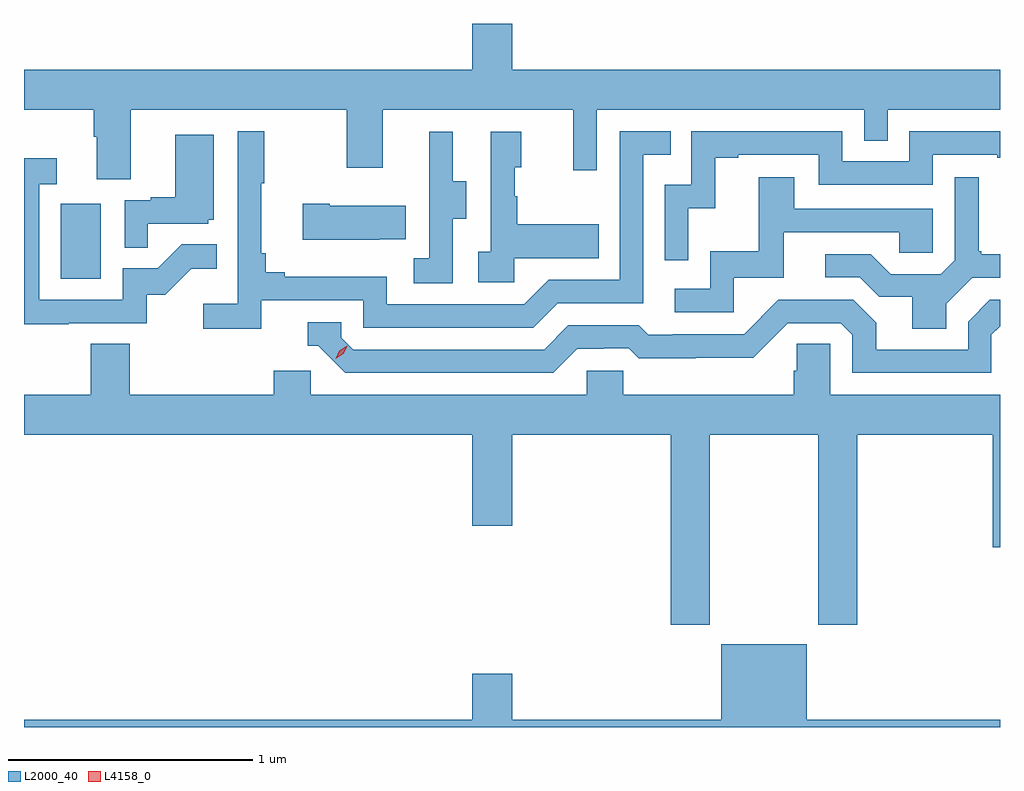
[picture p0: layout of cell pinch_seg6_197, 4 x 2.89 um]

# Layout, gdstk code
import gdstk
lib = gdstk.Library(unit=1e-6, precision=1e-09)
def R(c, l, rs):  # rectangles x0, y0, x1, y1
    for r in rs: c.add(gdstk.rectangle(r[:2], r[2:], *l))
def P(c, l, *ps):  # polygons
    for p in ps: c.add(gdstk.Polygon(p, *l))
L2000_40 = (2000, 40)
L4158_0 = (4158, 0)

pinch_seg6_197 = lib.new_cell('pinch_seg6_197')
R(pinch_seg6_197, L2000_40, [(1014.47,917.34,1014.634,917.647)])
P(pinch_seg6_197, L2000_40, [(1014.757,918.032),(1015.642,918.032),(1015.642,917.793),(1015.789,917.793),(1015.789,918.032),(1016.57,918.032),(1016.57,917.784),(1016.667,917.784),(1016.667,918.032),(1017.762,918.032),(1017.762,917.905),(1017.858,917.905),(1017.858,918.032),(1018.319,918.032),(1018.319,918.196),(1016.32,918.196),(1016.32,918.385),(1016.156,918.385),(1016.156,918.196),(1014.319,918.196),(1014.319,918.032),(1014.605,918.032),(1014.605,917.92),(1014.617,917.92),(1014.617,917.746),(1014.757,917.746)],
  [(1015.292,917.25),(1015.71,917.25),(1015.71,917.139),(1016.407,917.139),(1016.506,917.238),(1016.856,917.238),(1016.856,917.847),(1016.969,917.847),(1016.969,917.943),(1016.76,917.943),(1016.76,917.334),(1016.469,917.334),(1016.37,917.235),(1015.806,917.235),(1015.806,917.347),(1015.387,917.347),(1015.387,917.366),(1015.31,917.366),(1015.31,917.443),(1015.291,917.443),(1015.291,917.731),(1015.303,917.731),(1015.303,917.944),(1015.194,917.944),(1015.194,917.236),(1015.053,917.236),(1015.053,917.134),(1015.292,917.134)],
  [(1017.042,917.627),(1017.152,917.627),(1017.152,917.835),(1017.247,917.835),(1017.247,917.847),(1017.576,917.847),(1017.576,917.724),(1018.044,917.724),(1018.044,917.847),(1018.307,917.847),(1018.307,917.835),(1018.319,917.835),(1018.319,917.943),(1017.948,917.943),(1017.948,917.82),(1017.672,917.82),(1017.672,917.943),(1017.054,917.943),(1017.054,917.724),(1016.946,917.724),(1016.946,917.415),(1017.042,917.415)],
  [(1016.328,917.423),(1016.675,917.423),(1016.675,917.563),(1016.341,917.563),(1016.341,917.678),(1016.331,917.678),(1016.331,917.796),(1016.356,917.796),(1016.356,917.941),(1016.232,917.941),(1016.232,917.45),(1016.181,917.45),(1016.181,917.325),(1016.328,917.325)],
  [(1016.076,917.584),(1016.131,917.584),(1016.131,917.739),(1016.077,917.739),(1016.077,917.941),(1015.979,917.941),(1015.979,917.727),(1015.98,917.727),(1015.98,917.423),(1015.917,917.423),(1015.917,917.32),(1016.076,917.32)],
  [(1014.827,917.565),(1015.074,917.565),(1015.074,917.58),(1015.096,917.58),(1015.096,917.929),(1014.938,917.929),(1014.938,917.674),(1014.839,917.674),(1014.839,917.661),(1014.732,917.661),(1014.732,917.467),(1014.827,917.467)],
  [(1014.503,917.157),(1014.822,917.157),(1014.822,917.274),(1014.898,917.274),(1015.005,917.381),(1015.109,917.381),(1015.109,917.48),(1014.965,917.48),(1014.867,917.382),(1014.723,917.382),(1014.723,917.253),(1014.381,917.253),(1014.381,917.727),(1014.454,917.727),(1014.454,917.833),(1014.319,917.833),(1014.319,917.152),(1014.503,917.152)],
  [(1018.099,917.236),(1018.206,917.343),(1018.319,917.343),(1018.319,917.44),(1018.243,917.44),(1018.243,917.452),(1018.231,917.452),(1018.231,917.755),(1018.134,917.755),(1018.134,917.415),(1018.077,917.358),(1017.871,917.358),(1017.79,917.439),(1017.603,917.439),(1017.603,917.346),(1017.744,917.346),(1017.824,917.266),(1017.959,917.266),(1017.959,917.134),(1018.099,917.134)],
  [(1017.228,917.343),(1017.433,917.343),(1017.433,917.529),(1017.907,917.529),(1017.907,917.445),(1018.044,917.445),(1018.044,917.625),(1017.475,917.625),(1017.475,917.755),(1017.331,917.755),(1017.331,917.452),(1017.132,917.452),(1017.132,917.298),(1016.985,917.298),(1016.985,917.202),(1017.228,917.202)],
  [(1015.775,917.501),(1015.883,917.501),(1015.883,917.638),(1015.573,917.638),(1015.573,917.646),(1015.461,917.646),(1015.461,917.498),(1015.775,917.498)],
  [(1016.587,917.052),(1016.694,917.052),(1016.694,917.055),(1016.797,917.055),(1016.839,917.013),(1017.072,917.013),(1017.072,917.015),(1017.308,917.015),(1017.45,917.157),(1017.666,917.157),(1017.714,917.109),(1017.714,916.953),(1018.284,916.953),(1018.284,917.109),(1018.319,917.144),(1018.319,917.253),(1018.278,917.253),(1018.188,917.163),(1018.188,917.049),(1017.811,917.049),(1017.811,917.159),(1017.717,917.253),(1017.411,917.253),(1017.27,917.112),(1016.977,917.112),(1016.977,917.109),(1016.878,917.109),(1016.839,917.148),(1016.55,917.148),(1016.451,917.049),(1015.668,917.049),(1015.62,917.097),(1015.62,917.16),(1015.481,917.16),(1015.481,917.064),(1015.524,917.064),(1015.635,916.953),(1016.488,916.953)],
  [(1017.129,916.7),(1017.574,916.7),(1017.574,915.921),(1017.734,915.921),(1017.734,916.7),(1018.289,916.7),(1018.289,916.239),(1018.319,916.239),(1018.319,916.864),(1017.624,916.864),(1017.624,917.072),(1017.487,917.072),(1017.487,916.962),(1017.473,916.962),(1017.473,916.864),(1016.775,916.864),(1016.775,916.962),(1016.625,916.962),(1016.625,916.864),(1015.494,916.864),(1015.494,916.962),(1015.343,916.962),(1015.343,916.864),(1014.752,916.864),(1014.752,917.072),(1014.592,917.072),(1014.592,916.864),(1014.319,916.864),(1014.319,916.7),(1016.156,916.7),(1016.156,916.326),(1016.32,916.326),(1016.32,916.7),(1016.969,916.7),(1016.969,915.921),(1017.129,915.921)],
  [(1018.319,915.532),(1017.526,915.532),(1017.526,915.841),(1017.176,915.841),(1017.176,915.532),(1016.32,915.532),(1016.32,915.721),(1016.156,915.721),(1016.156,915.532),(1014.319,915.532),(1014.319,915.5),(1018.319,915.5)])
P(pinch_seg6_197, L4158_0, [(1015.596,917.012),(1015.596,917.012),(1015.612,917.044),(1015.643,917.064),(1015.643,917.064),(1015.643,917.063),(1015.627,917.031),(1015.596,917.012)])

lib.write_gds('pinch_seg6_197.gds')
